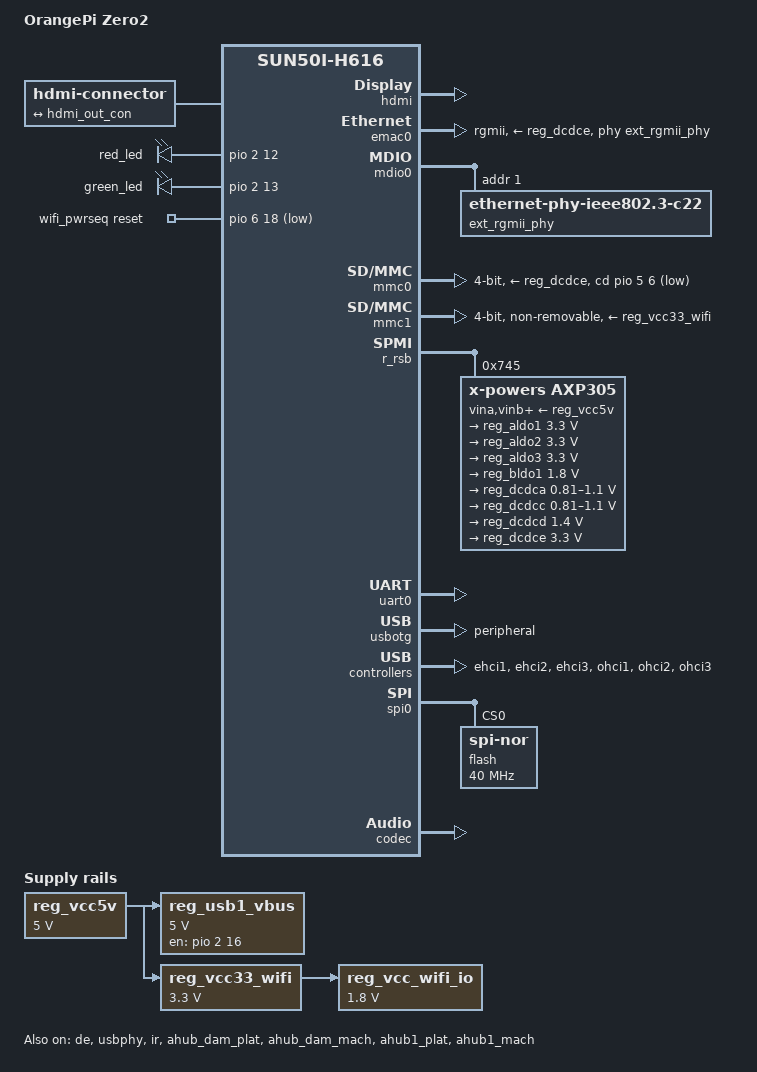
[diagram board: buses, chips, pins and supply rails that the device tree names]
// SPDX-License-Identifier: (GPL-2.0+ or MIT)
/*
 * Copyright (C) 2020 Arm Ltd.
 */

/dts-v1/;

#include "sun50i-h616.dtsi"
#include "sun50i-h616-cpu-opp.dtsi"

#include <dt-bindings/gpio/gpio.h>
#include <dt-bindings/interrupt-controller/arm-gic.h>
#include <dt-bindings/leds/common.h>

/ {
	model = "OrangePi Zero2";
	compatible = "xunlong,orangepi-zero2", "allwinner,sun50i-h616";

	aliases {
		ethernet0 = &emac0;
		serial0 = &uart0;
		serial5 = &uart5;
	};

	chosen {
		stdout-path = "serial0:115200n8";
	};

	connector {
		compatible = "hdmi-connector";
		type = "d";

		port {
			hdmi_con_in: endpoint {
				remote-endpoint = <&hdmi_out_con>;
			};
		};
	};

	leds: leds {
		compatible = "gpio-leds";

		led-red {
			label = "red_led";
			gpios = <&pio 2 12 GPIO_ACTIVE_HIGH>; /* PC12 */
			linux,default-trigger = "none";
		};

		led-green {
			label = "green_led";
			gpios = <&pio 2 13 GPIO_ACTIVE_HIGH>; /* PC13 */
			linux,default-trigger = "heartbeat";
		};
	};

	reg_vcc5v: vcc5v {
		/* board wide 5V supply directly from the USB-C socket */
		compatible = "regulator-fixed";
		regulator-name = "vcc-5v";
		regulator-min-microvolt = <5000000>;
		regulator-max-microvolt = <5000000>;
		regulator-always-on;
	};

	reg_usb1_vbus: usb1-vbus {
		compatible = "regulator-fixed";
		regulator-name = "usb1-vbus";
		regulator-min-microvolt = <5000000>;
		regulator-max-microvolt = <5000000>;
		vin-supply = <&reg_vcc5v>;
		enable-active-high;
		gpio = <&pio 2 16 GPIO_ACTIVE_HIGH>; /* PC16 */
		status = "okay";
	};

	reg_vcc33_wifi: vcc33-wifi {
		/* Always on 3.3V regulator for WiFi and BT */
		compatible = "regulator-fixed";
		regulator-name = "vcc33-wifi";
		regulator-min-microvolt = <3300000>;
		regulator-max-microvolt = <3300000>;
		regulator-always-on;
		vin-supply = <&reg_vcc5v>;
	};

	reg_vcc_wifi_io: vcc-wifi-io {
		/* Always on 1.8V/300mA regulator for WiFi and BT IO */
		compatible = "regulator-fixed";
		regulator-name = "vcc-wifi-io";
		regulator-min-microvolt = <1800000>;
		regulator-max-microvolt = <1800000>;
		regulator-always-on;
		vin-supply = <&reg_vcc33_wifi>;
	};

	wifi_pwrseq: wifi-pwrseq {
		compatible = "mmc-pwrseq-simple";
		clocks = <&rtc 1>;
		clock-names = "osc32k-out";
		reset-gpios = <&pio 6 18 GPIO_ACTIVE_LOW>; /* PG18 */
		post-power-on-delay-ms = <200>;
	};
};

&de {
	status = "okay";
};

&hdmi {
	hvcc-supply = <&reg_bldo1>;
	status = "okay";
};

&hdmi_out {
	hdmi_out_con: endpoint {
		remote-endpoint = <&hdmi_con_in>;
	};
};

&gpu {
	mali-supply = <&reg_dcdcc>;
	status = "disabled";
};

&emac0 {
	pinctrl-names = "default";
	pinctrl-0 = <&ext_rgmii_pins>;
	phy-mode = "rgmii";
	phy-handle = <&ext_rgmii_phy>;
	phy-supply = <&reg_dcdce>;
	allwinner,rx-delay-ps = <3100>;
	allwinner,tx-delay-ps = <700>;
	status = "okay";
};

&mdio0 {
	ext_rgmii_phy: ethernet-phy@1 {
		compatible = "ethernet-phy-ieee802.3-c22";
		reg = <1>;
	};
};

&mmc0 {
	vmmc-supply = <&reg_dcdce>;
	cd-gpios = <&pio 5 6 GPIO_ACTIVE_LOW>;	/* PF6 */
	bus-width = <4>;
	max-frequency = <50000000>;
	status = "okay";
};

&mmc1 {
	vmmc-supply = <&reg_vcc33_wifi>;
	vqmmc-supply = <&reg_vcc_wifi_io>;
	mmc-pwrseq = <&wifi_pwrseq>;
	bus-width = <4>;
	non-removable;
	mmc-ddr-1_8v;
	status = "okay";
};

&r_rsb {
	status = "okay";

	axp305: pmic@745 {
		compatible = "x-powers,axp305", "x-powers,axp805",
			     "x-powers,axp806";
		interrupt-controller;
		#interrupt-cells = <1>;
		reg = <0x745>;

		x-powers,self-working-mode;
		vina-supply = <&reg_vcc5v>;
		vinb-supply = <&reg_vcc5v>;
		vinc-supply = <&reg_vcc5v>;
		vind-supply = <&reg_vcc5v>;
		vine-supply = <&reg_vcc5v>;
		aldoin-supply = <&reg_vcc5v>;
		bldoin-supply = <&reg_vcc5v>;
		cldoin-supply = <&reg_vcc5v>;

		regulators {
			reg_aldo1: aldo1 {
				regulator-always-on;
				regulator-min-microvolt = <3300000>;
				regulator-max-microvolt = <3300000>;
				regulator-name = "vcc-sys";
			};

			reg_aldo2: aldo2 {	/* 3.3V on headers */
				regulator-always-on;
				regulator-min-microvolt = <3300000>;
				regulator-max-microvolt = <3300000>;
				regulator-name = "vcc3v3-ext";
			};

			reg_aldo3: aldo3 {	/* 3.3V on headers */
				regulator-always-on;
				regulator-min-microvolt = <3300000>;
				regulator-max-microvolt = <3300000>;
				regulator-name = "vcc3v3-ext2";
			};

			reg_bldo1: bldo1 {
				regulator-always-on;
				regulator-min-microvolt = <1800000>;
				regulator-max-microvolt = <1800000>;
				regulator-name = "vcc1v8";
			};

			bldo2 {
				/* unused */
			};

			bldo3 {
				/* unused */
			};

			bldo4 {
				/* unused */
			};

			cldo1 {
				/* reserved */
			};

			cldo2 {
				/* unused */
			};

			cldo3 {
				/* unused */
			};

			reg_dcdca: dcdca {
				regulator-always-on;
				regulator-min-microvolt = <810000>;
				regulator-max-microvolt = <1100000>;
				regulator-name = "vdd-cpu";
			};

			reg_dcdcc: dcdcc {
				regulator-always-on;
				regulator-min-microvolt = <810000>;
				regulator-max-microvolt = <1100000>;
				regulator-name = "vdd-gpu-sys";
			};

			reg_dcdcd: dcdcd {
				regulator-always-on;
				regulator-min-microvolt = <1400000>;
				regulator-max-microvolt = <1400000>;
				regulator-name = "vdd-dram";
			};

			reg_dcdce: dcdce {
				regulator-always-on;
				regulator-min-microvolt = <3300000>;
				regulator-max-microvolt = <3300000>;
				regulator-name = "vcc-eth-mmc";
			};

			sw {
				/* unused */
			};
		};
	};
};

&pio {
	vcc-pc-supply = <&reg_aldo1>;
	vcc-pf-supply = <&reg_aldo1>;
	vcc-pg-supply = <&reg_bldo1>;
	vcc-ph-supply = <&reg_aldo1>;
	vcc-pi-supply = <&reg_aldo1>;
};

&uart0 {
	pinctrl-names = "default";
	pinctrl-0 = <&uart0_ph_pins>;
	status = "okay";
};

&usbotg {
	/*
	 * PHY0 pins are connected to a USB-C socket, but a role switch
	 * is not implemented: both CC pins are pulled to GND.
	 * The VBUS pins power the device, so a fixed peripheral mode
	 * is the best choice.
	 * The board can be powered via GPIOs, in this case port0 *can*
	 * act as a host (with a cable/adapter ignoring CC), as VBUS is
	 * then provided by the GPIOs. Any user of this setup would
	 * need to adjust the DT accordingly: dr_mode set to "host",
	 * enabling OHCI0 and EHCI0.
	 */
	dr_mode = "peripheral";
	status = "okay";
};

&usbphy {
	usb1_vbus-supply = <&reg_usb1_vbus>;
	status = "okay";
};

&ehci0 {
	status = "disabled";
};

&ehci1 {
	status = "okay";
};

&ehci2 {
	status = "okay";
};

&ehci3 {
	status = "okay";
};

&ohci0 {
	status = "disabled";
};

&ohci1 {
	status = "okay";
};

&ohci2 {
	status = "okay";
};

&ohci3 {
	status = "okay";
};

&ir {
	pinctrl-names = "default";
	pinctrl-0 = <&ir_rx_pin>;
	status = "okay";
};

&i2c1 {
	status = "disabled";
};

&i2c2 {
	status = "disabled";
};

&i2c3 {
	status = "disabled";
};

&i2c4 {
	status = "disabled";
};

&uart2 {
	pinctrl-names = "default";
	pinctrl-0 = <&uart2_ph_pins>;
	status = "disabled";
};

&uart5 {
	pinctrl-names = "default";
	pinctrl-0 = <&uart5_ph_pins>;
	status = "disabled";
};

&spi0  {
	status = "okay";
	pinctrl-names = "default";
	pinctrl-0 = <&spi0_pins>, <&spi0_cs0_pin>;

	spidev@0 {
		status = "disabled";
		compatible = "rohm,dh2228fv";
		reg = <0>;
		spi-max-frequency = <1000000>;
	};

	flash@0 {
		status = "okay";
		#address-cells = <1>;
		#size-cells = <1>;
		compatible = "jedec,spi-nor";
		reg = <0>;
		spi-max-frequency = <40000000>;
	};
};

&spi1 {
	status = "disabled";
	#address-cells = <1>;
	#size-cells = <0>;
	pinctrl-names = "default";
	pinctrl-0 = <&spi1_pins>, <&spi1_cs1_pin>;

	spidev@1 {
		compatible = "rohm,dh2228fv";
		status = "disabled";
		reg = <1>;
		spi-max-frequency = <1000000>;
	};
};

&codec {
	allwinner,audio-routing =
	        "Line Out", "LINEOUT";
	status = "okay";
};

&ahub_dam_plat {
	status = "okay";
};

&ahub_dam_mach {
	status = "okay";
};

&ahub1_plat {
	status = "okay";
};

&ahub1_mach {
	status = "okay";
};

&cpu0 {
	cpu-supply = <&reg_dcdca>;
	status = "okay";
};
